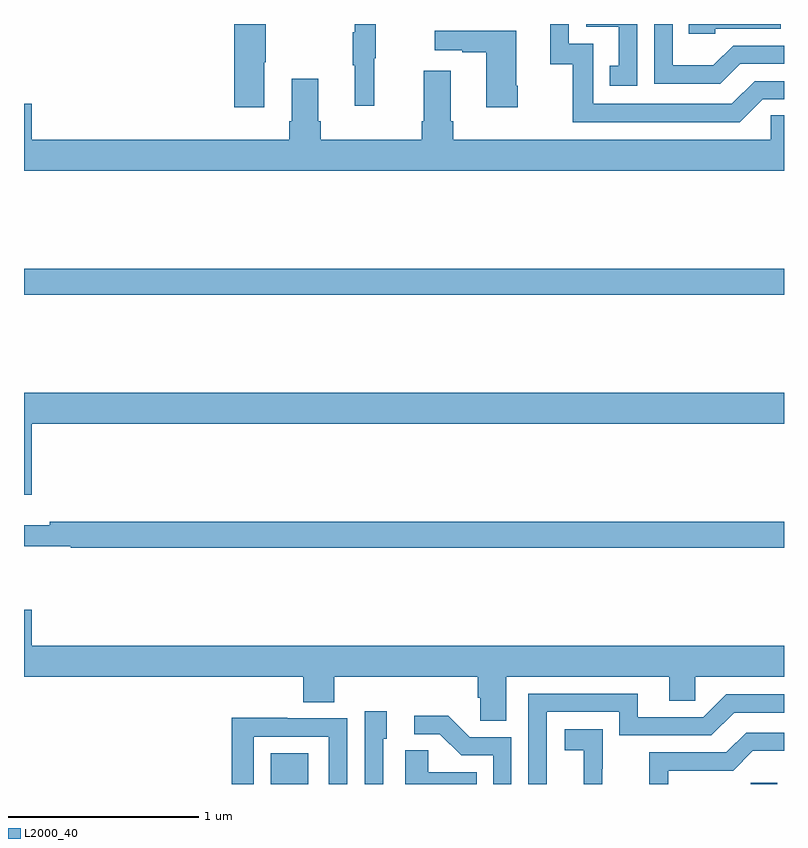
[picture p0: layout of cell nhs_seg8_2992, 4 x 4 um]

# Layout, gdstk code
import gdstk
lib = gdstk.Library(unit=1e-6, precision=1e-09)
def R(c, l, rs):  # rectangles x0, y0, x1, y1
    for r in rs: c.add(gdstk.rectangle(r[:2], r[2:], *l))
def P(c, l, *ps):  # polygons
    for p in ps: c.add(gdstk.Polygon(p, *l))
L2000_40 = (2000, 40)

nhs_seg8_2992 = lib.new_cell('nhs_seg8_2992')
R(nhs_seg8_2992, L2000_40, [(298.298,1151.9,298.495,1152.061), (300.825,1151.9,300.965,1151.907), (297,1154.476,301,1154.612)])
P(nhs_seg8_2992, L2000_40, [(298.844,1155.72),(298.852,1155.72),(298.852,1155.9),(298.742,1155.9),(298.742,1155.857),(298.731,1155.857),(298.731,1155.683),(298.742,1155.683),(298.742,1155.471),(298.844,1155.471)],
  [(300.769,1155.69),(301,1155.69),(301,1155.786),(300.732,1155.786),(300.628,1155.682),(300.414,1155.682),(300.414,1155.9),(300.318,1155.9),(300.318,1155.585),(300.664,1155.585)],
  [(300.888,1155.504),(301,1155.504),(301,1155.6),(300.846,1155.6),(300.726,1155.48),(299.997,1155.48),(299.997,1155.795),(299.868,1155.795),(299.868,1155.9),(299.771,1155.9),(299.771,1155.687),(299.889,1155.687),(299.889,1155.384),(300.768,1155.384)],
  [(298.264,1155.7),(298.272,1155.7),(298.272,1155.9),(298.106,1155.9),(298.106,1155.462),(298.264,1155.462)],
  [(300.639,1155.876),(300.984,1155.876),(300.984,1155.9),(300.499,1155.9),(300.499,1155.849),(300.639,1155.849)],
  [(300.228,1155.9),(299.958,1155.9),(299.958,1155.885),(300.131,1155.885),(300.131,1155.681),(300.082,1155.681),(300.082,1155.576),(300.228,1155.576)],
  [(299.598,1155.574),(299.59,1155.574),(299.59,1155.865),(299.163,1155.865),(299.163,1155.761),(299.306,1155.761),(299.306,1155.751),(299.432,1155.751),(299.432,1155.462),(299.598,1155.462)],
  [(297,1155.481),(297,1155.128),(301,1155.128),(301,1155.419),(300.93,1155.419),(300.93,1155.292),(299.258,1155.292),(299.258,1155.388),(299.245,1155.388),(299.245,1155.655),(299.105,1155.655),(299.105,1155.388),(299.093,1155.388),(299.093,1155.292),(298.562,1155.292),(298.562,1155.388),(298.549,1155.388),(298.549,1155.613),(298.409,1155.613),(298.409,1155.388),(298.397,1155.388),(298.397,1155.292),(297.04,1155.292),(297.04,1155.481)],
  [(297.04,1153.796),(301,1153.796),(301,1153.96),(297,1153.96),(297,1153.422),(297.04,1153.422)],
  [(301,1153.28),(297.136,1153.28),(297.136,1153.261),(297,1153.261),(297,1153.152),(297.245,1153.152),(297.245,1153.144),(301,1153.144)],
  [(299.539,1152.464),(300.395,1152.464),(300.395,1152.337),(300.534,1152.337),(300.534,1152.464),(301,1152.464),(301,1152.628),(297.04,1152.628),(297.04,1152.817),(297,1152.817),(297,1152.464),(298.469,1152.464),(298.469,1152.331),(298.634,1152.331),(298.634,1152.464),(299.387,1152.464),(299.387,1152.355),(299.4,1152.355),(299.4,1152.232),(299.539,1152.232)],
  [(299.751,1152.279),(300.132,1152.279),(300.132,1152.156),(300.618,1152.156),(300.738,1152.276),(301,1152.276),(301,1152.372),(300.696,1152.372),(300.576,1152.252),(300.229,1152.252),(300.229,1152.375),(299.655,1152.375),(299.655,1151.9),(299.751,1151.9)],
  [(298.89,1152.138),(298.909,1152.138),(298.909,1152.283),(298.794,1152.283),(298.794,1151.9),(298.89,1151.9)],
  [(299.565,1152.147),(299.346,1152.147),(299.233,1152.26),(299.055,1152.26),(299.055,1152.162),(299.189,1152.162),(299.3,1152.051),(299.469,1152.051),(299.469,1151.9),(299.565,1151.9)],
  [(298.209,1152.15),(298.605,1152.15),(298.605,1151.9),(298.701,1151.9),(298.701,1152.246),(298.385,1152.246),(298.385,1152.248),(298.093,1152.248),(298.093,1151.9),(298.209,1151.9)],
  [(300.044,1151.981),(300.045,1151.981),(300.045,1152.187),(299.847,1152.187),(299.847,1152.077),(299.945,1152.077),(299.945,1151.9),(300.044,1151.9)],
  [(300.39,1151.97),(300.732,1151.97),(300.836,1152.074),(301,1152.074),(301,1152.171),(300.8,1152.171),(300.695,1152.066),(300.292,1152.066),(300.292,1151.9),(300.39,1151.9)],
  [(299.384,1151.962),(299.127,1151.962),(299.127,1152.077),(299.006,1152.077),(299.006,1151.9),(299.384,1151.9)])

lib.write_gds('nhs_seg8_2992.gds')
